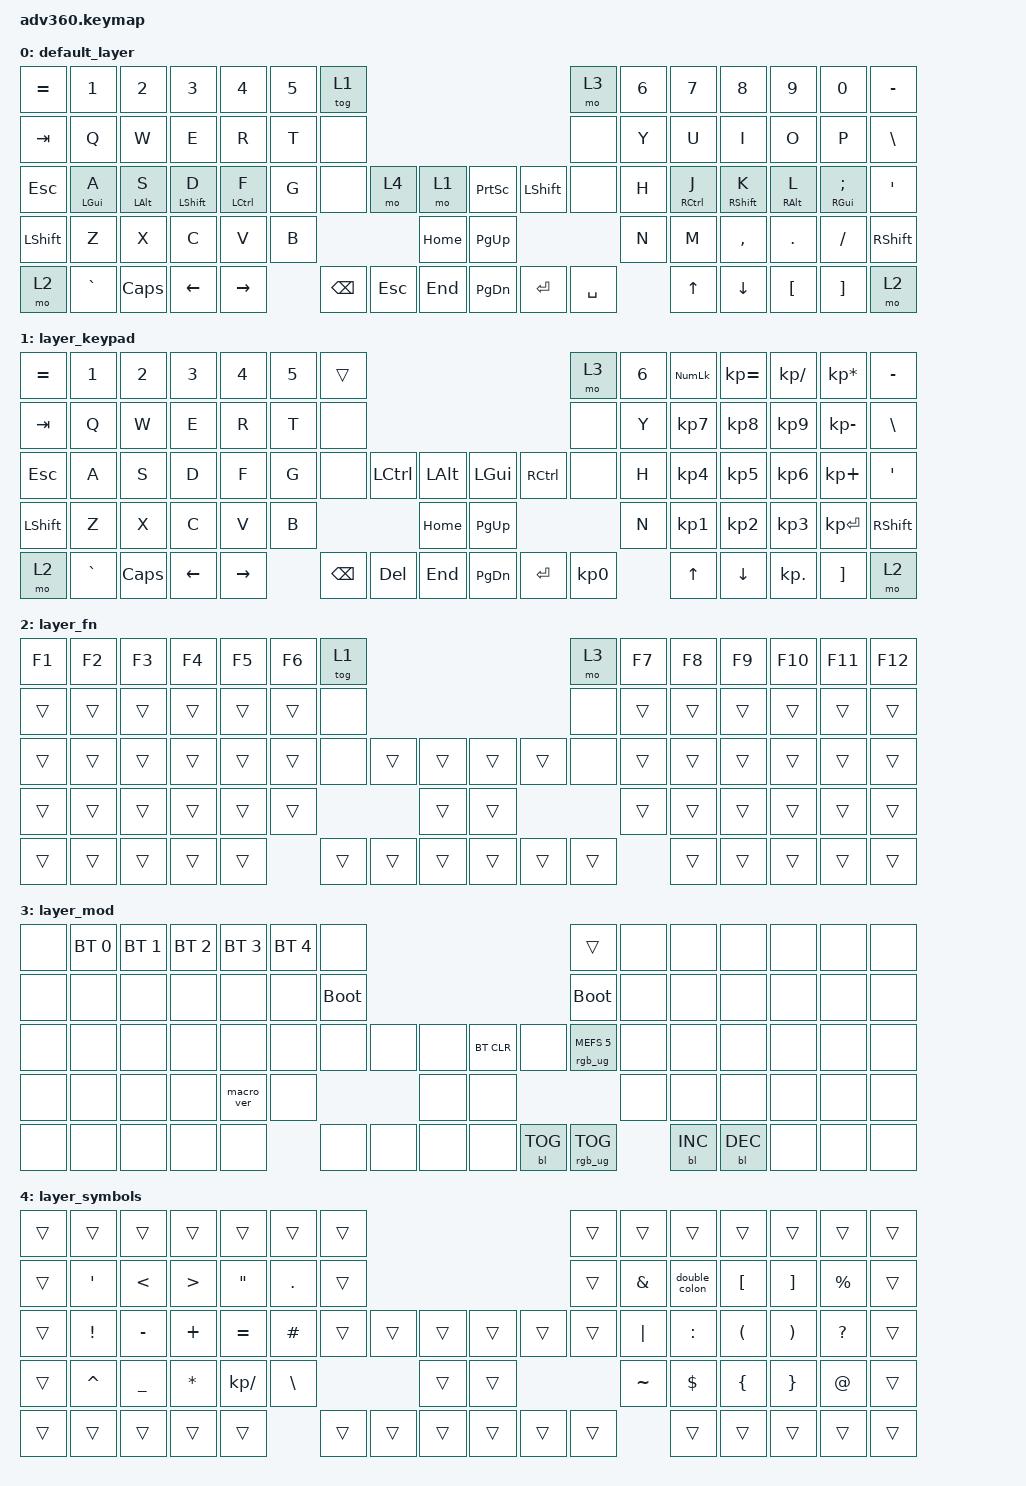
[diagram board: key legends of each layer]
/*
 * Copyright (c) 2020 The ZMK Contributors
 *
 * SPDX-License-Identifier: MIT
 */
/* THIS FILE WAS GENERATED!
 *
 * This file was generated automatically. You may or may not want to
 * edit it directly.
 */

#include <behaviors.dtsi>
#include <dt-bindings/zmk/backlight.h>
#include <dt-bindings/zmk/bt.h>
#include <dt-bindings/zmk/keys.h>
#include <dt-bindings/zmk/rgb.h>

/ {
    behaviors {
        #include "macros.dtsi"
    #include "version.dtsi"

        hm: homerow_mods {
            compatible = "zmk,behavior-hold-tap";
            label = "HOMEROW_MODS";
            #binding-cells = <2>;
            tapping-term-ms = <200>;
            quick_tap_ms = <175>;
            flavor = "tap-preferred";
            bindings = <&kp>, <&kp>;
        };
    };

    macros {
        double_colon: double_colon {
            compatible = "zmk,behavior-macro";
            #binding-cells = <0>;
            bindings = <&kp COLON &kp COLON>;
            label = "DOUBLE_COLON";
        };
    };

    keymap {
        compatible = "zmk,keymap";

        default_layer {
            bindings = <
&kp EQUAL  &kp N1          &kp N2          &kp N3        &kp N4              &kp N5  &tog 1                                                               &mo 3      &kp N6  &kp N7               &kp N8             &kp N9           &kp N0                   &kp MINUS
&kp TAB    &kp Q           &kp W           &kp E         &kp R               &kp T   &none                                                                &none      &kp Y   &kp U                &kp I              &kp O            &kp P                    &kp BSLH
&kp ESC    &hm LEFT_GUI A  &hm LEFT_ALT S  &hm LSHIFT D  &hm LEFT_CONTROL F  &kp G   &none     &mo 4       &mo 1         &kp PRINTSCREEN  &kp LEFT_SHIFT  &none      &kp H   &hm RIGHT_CONTROL J  &hm RIGHT_SHIFT K  &hm RIGHT_ALT L  &hm RIGHT_GUI SEMICOLON  &kp SQT
&kp LSHFT  &kp Z           &kp X           &kp C         &kp V               &kp B                         &kp HOME      &kp PG_UP                                   &kp N   &kp M                &kp COMMA          &kp DOT          &kp FSLH                 &kp RSHFT
&mo 2      &kp GRAVE       &kp CAPS        &kp LEFT      &kp RIGHT                   &kp BSPC  &kp ESCAPE  &kp END       &kp PG_DN        &kp ENTER       &kp SPACE          &kp UP               &kp DOWN           &kp LBKT         &kp RBKT                 &mo 2
            >;
        };

        layer_keypad {
            bindings = <
&kp EQUAL  &kp N1     &kp N2    &kp N3    &kp N4     &kp N5  &trans                                                   &mo 3      &kp N6  &kp KP_NUM  &kp KP_EQUAL  &kp KP_DIVIDE  &kp KP_MULTIPLY  &kp MINUS
&kp TAB    &kp Q      &kp W     &kp E     &kp R      &kp T   &none                                                    &none      &kp Y   &kp KP_N7   &kp KP_N8     &kp KP_N9      &kp KP_MINUS     &kp BSLH
&kp ESC    &kp A      &kp S     &kp D     &kp F      &kp G   &none     &kp LCTRL  &kp LALT      &kp LGUI   &kp RCTRL  &none      &kp H   &kp KP_N4   &kp KP_N5     &kp KP_N6      &kp KP_PLUS      &kp SQT
&kp LSHFT  &kp Z      &kp X     &kp C     &kp V      &kp B                        &kp HOME      &kp PG_UP                        &kp N   &kp KP_N1   &kp KP_N2     &kp KP_N3      &kp KP_ENTER     &kp RSHFT
&mo 2      &kp GRAVE  &kp CAPS  &kp LEFT  &kp RIGHT          &kp BSPC  &kp DEL    &kp END       &kp PG_DN  &kp ENTER  &kp KP_N0          &kp UP      &kp DOWN      &kp KP_DOT     &kp RBKT         &mo 2
            >;
        };

        layer_fn {
            bindings = <
&kp F1  &kp F2  &kp F3  &kp F4  &kp F5  &kp F6  &tog 1                                      &mo 3   &kp F7  &kp F8  &kp F9  &kp F10  &kp F11  &kp F12
&trans  &trans  &trans  &trans  &trans  &trans  &none                                       &none   &trans  &trans  &trans  &trans   &trans   &trans
&trans  &trans  &trans  &trans  &trans  &trans  &none   &trans  &trans      &trans  &trans  &none   &trans  &trans  &trans  &trans   &trans   &trans
&trans  &trans  &trans  &trans  &trans  &trans                  &trans      &trans                  &trans  &trans  &trans  &trans   &trans   &trans
&trans  &trans  &trans  &trans  &trans          &trans  &trans  &trans      &trans  &trans  &trans          &trans  &trans  &trans   &trans   &trans
            >;
        };

        layer_mod {
            bindings = <
&none  &bt BT_SEL 0  &bt BT_SEL 1  &bt BT_SEL 2  &bt BT_SEL 3  &bt BT_SEL 4  &none                                                  &trans                  &none  &none       &none       &none  &none  &none
&none  &none         &none         &none         &none         &none         &bootloader                                            &bootloader             &none  &none       &none       &none  &none  &none
&none  &none         &none         &none         &none         &none         &none        &none  &none      &bt BT_CLR  &none       &rgb_ug RGB_MEFS_CMD 5  &none  &none       &none       &none  &none  &none
&none  &none         &none         &none         &macro_ver    &none                             &none      &none                                           &none  &none       &none       &none  &none  &none
&none  &none         &none         &none         &none                       &none        &none  &none      &none       &bl BL_TOG  &rgb_ug RGB_TOG                &bl BL_INC  &bl BL_DEC  &none  &none  &none
            >;
        };

        layer_symbols {
            bindings = <
&trans  &trans            &trans          &trans            &trans             &trans         &trans                                      &trans  &trans         &trans         &trans                &trans                 &trans        &trans
&trans  &kp SINGLE_QUOTE  &kp LESS_THAN   &kp GREATER_THAN  &kp DOUBLE_QUOTES  &kp PERIOD     &trans                                      &trans  &kp AMPERSAND  &double_colon  &kp LEFT_BRACKET      &kp RIGHT_BRACKET      &kp PERCENT   &trans
&trans  &kp EXCLAMATION   &kp MINUS       &kp PLUS          &kp EQUAL          &kp HASH       &trans  &trans  &trans      &trans  &trans  &trans  &kp PIPE       &kp COLON      &kp LEFT_PARENTHESIS  &kp RIGHT_PARENTHESIS  &kp QUESTION  &trans
&trans  &kp CARET         &kp UNDERSCORE  &kp ASTERISK      &kp KP_SLASH       &kp BACKSLASH                  &trans      &trans                  &kp TILDE      &kp DOLLAR     &kp LEFT_BRACE        &kp RIGHT_BRACE        &kp AT        &trans
&trans  &trans            &trans          &trans            &trans                            &trans  &trans  &trans      &trans  &trans  &trans                 &trans         &trans                &trans                 &trans        &trans
            >;
        };
    };
};
